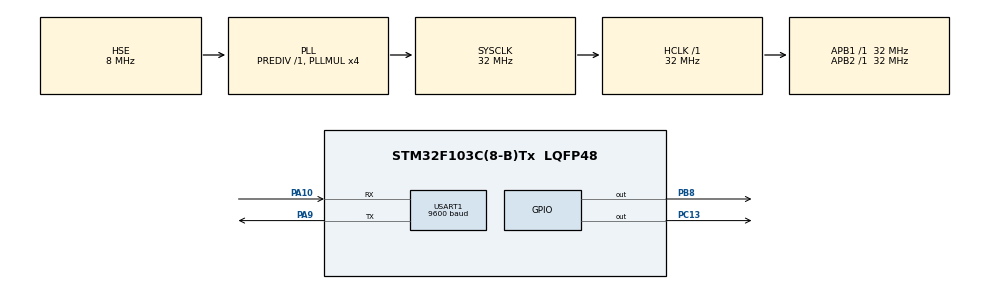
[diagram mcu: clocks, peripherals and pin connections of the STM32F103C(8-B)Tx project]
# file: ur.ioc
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Mcu.Family=STM32F1
Mcu.Name=STM32F103C(8-B)Tx
Mcu.Package=LQFP48
NVIC.PriorityGroup=NVIC_PRIORITYGROUP_4
NVIC.USART1_IRQn=true\:0\:0\:false\:false\:true\:true\:true
PA10.Mode=Asynchronous
PA10.Signal=USART1_RX
PA13.Mode=Serial_Wire
PA13.Signal=SYS_JTMS-SWDIO
PA14.Mode=Serial_Wire
PA14.Signal=SYS_JTCK-SWCLK
PA9.Mode=Asynchronous
PA9.Signal=USART1_TX
PB8.GPIO_PuPd=GPIO_PULLUP
PB8.Signal=GPIO_Output
PC13-TAMPER-RTC.Signal=GPIO_Output
PC14-OSC32_IN.Mode=LSE-External-Oscillator
PC14-OSC32_IN.Signal=RCC_OSC32_IN
PC15-OSC32_OUT.Mode=LSE-External-Oscillator
PC15-OSC32_OUT.Signal=RCC_OSC32_OUT
PD0-OSC_IN.Mode=HSE-External-Oscillator
PD0-OSC_IN.Signal=RCC_OSC_IN
PD1-OSC_OUT.Mode=HSE-External-Oscillator
PD1-OSC_OUT.Signal=RCC_OSC_OUT
ProjectManager.HeapSize=0x200
ProjectManager.StackSize=0x400
ProjectManager.TargetToolchain=MDK-ARM V5
RCC.AHBFreq_Value=32000000
RCC.APB1Freq_Value=32000000
RCC.APB1TimFreq_Value=32000000
RCC.APB2Freq_Value=32000000
RCC.APB2TimFreq_Value=32000000
RCC.HCLKFreq_Value=32000000
RCC.PLLMUL=RCC_PLL_MUL4
RCC.PLLSourceVirtual=RCC_PLLSOURCE_HSE
RCC.SYSCLKFreq_VALUE=32000000
RCC.SYSCLKSource=RCC_SYSCLKSOURCE_PLLCLK
RCC.USBFreq_Value=32000000
USART1.BaudRate=9600
USART1.VirtualMode=VM_ASYNC
board=custom

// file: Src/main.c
/* USER CODE BEGIN Header */
/**
  ******************************************************************************
  * @file           : main.c
  * @brief          : Main program body
  ******************************************************************************
  * @attention
  *
  * <h2><center>&copy; Copyright (c) 2023 STMicroelectronics.
  * All rights reserved.</center></h2>
  *
  * This software component is licensed by ST under BSD 3-Clause license,
  * the "License"; You may not use this file except in compliance with the
  * License. You may obtain a copy of the License at:
  *                        opensource.org/licenses/BSD-3-Clause
  *
  ******************************************************************************
  */
/* USER CODE END Header */

#include "main.h"
#include "usart.h"
#include "gpio.h"

void SystemClock_Config(void);

/* USER CODE BEGIN 0 */
#define LED1_ON() HAL_GPIO_WritePin(GPIOC,GPIO_PIN_13,GPIO_PIN_RESET)
#define LED1_OFF() HAL_GPIO_WritePin(GPIOC,GPIO_PIN_13,GPIO_PIN_SET)
#define LED2_ON() HAL_GPIO_WritePin(GPIOB,GPIO_PIN_8,GPIO_PIN_SET)
#define LED2_OFF() HAL_GPIO_WritePin(GPIOB,GPIO_PIN_8,GPIO_PIN_RESET)

uint8_t Tx_str1[]= "Hello world!\r\n";
uint8_t Tx_str2[]= "LED1 open!\r\n";
uint8_t Tx_str3[]= "LED1 close!\r\n";
uint8_t Rx_data= 0;

void HAL_UART_RxCpltCallback(UART_HandleTypeDef *huart)
{
	if(huart->Instance==USART1)
	{
		if(Rx_data==0xa1)
		{
		LED2_ON();
		LED1_ON();
		HAL_UART_Transmit(&huart1,Tx_str2,sizeof(Tx_str1),10000);
		LED1_OFF();
			HAL_UART_Receive_IT(&huart1,&Rx_data,1);
		}
		else if(Rx_data==0xa2)
		{
		LED2_OFF();
		LED1_ON();
		HAL_UART_Transmit(&huart1,Tx_str3,sizeof(Tx_str1),10000);
		LED1_OFF();
			HAL_UART_Receive_IT(&huart1,&Rx_data,1);
		}
	}
}
/* USER CODE END 0 */

int main(void)
{

  /* MCU Configuration--------------------------------------------------------*/

  /* Reset of all peripherals, Initializes the Flash interface and the Systick. */
  HAL_Init();

  /* Configure the system clock */
  SystemClock_Config();

  /* Initialize all configured peripherals */
  MX_GPIO_Init();
  MX_USART1_UART_Init();
  /* USER CODE BEGIN 2 */
	LED1_ON();
HAL_UART_Transmit(&huart1,Tx_str1,sizeof(Tx_str1),10000);
LED1_OFF();
HAL_UART_Receive_IT(&huart1,&Rx_data,1);
  /* USER CODE END 2 */

  /* Infinite loop */
  while (1)
  {

  }
}

void SystemClock_Config(void)
{
  RCC_OscInitTypeDef RCC_OscInitStruct = {0};
  RCC_ClkInitTypeDef RCC_ClkInitStruct = {0};

  /** Initializes the CPU, AHB and APB busses clocks
  */
  RCC_OscInitStruct.OscillatorType = RCC_OSCILLATORTYPE_HSE;
  RCC_OscInitStruct.HSEState = RCC_HSE_ON;
  RCC_OscInitStruct.HSEPredivValue = RCC_HSE_PREDIV_DIV1;
  RCC_OscInitStruct.HSIState = RCC_HSI_ON;
  RCC_OscInitStruct.PLL.PLLState = RCC_PLL_ON;
  RCC_OscInitStruct.PLL.PLLSource = RCC_PLLSOURCE_HSE;
  RCC_OscInitStruct.PLL.PLLMUL = RCC_PLL_MUL4;
  if (HAL_RCC_OscConfig(&RCC_OscInitStruct) != HAL_OK)
  {
    Error_Handler();
  }
  /** Initializes the CPU, AHB and APB busses clocks
  */
  RCC_ClkInitStruct.ClockType = RCC_CLOCKTYPE_HCLK|RCC_CLOCKTYPE_SYSCLK
                              |RCC_CLOCKTYPE_PCLK1|RCC_CLOCKTYPE_PCLK2;
  RCC_ClkInitStruct.SYSCLKSource = RCC_SYSCLKSOURCE_PLLCLK;
  RCC_ClkInitStruct.AHBCLKDivider = RCC_SYSCLK_DIV1;
  RCC_ClkInitStruct.APB1CLKDivider = RCC_HCLK_DIV1;
  RCC_ClkInitStruct.APB2CLKDivider = RCC_HCLK_DIV1;

  if (HAL_RCC_ClockConfig(&RCC_ClkInitStruct, FLASH_LATENCY_1) != HAL_OK)
  {
    Error_Handler();
  }
}

void Error_Handler(void)
{
}

/************************ (C) COPYRIGHT STMicroelectronics *****END OF FILE****/
